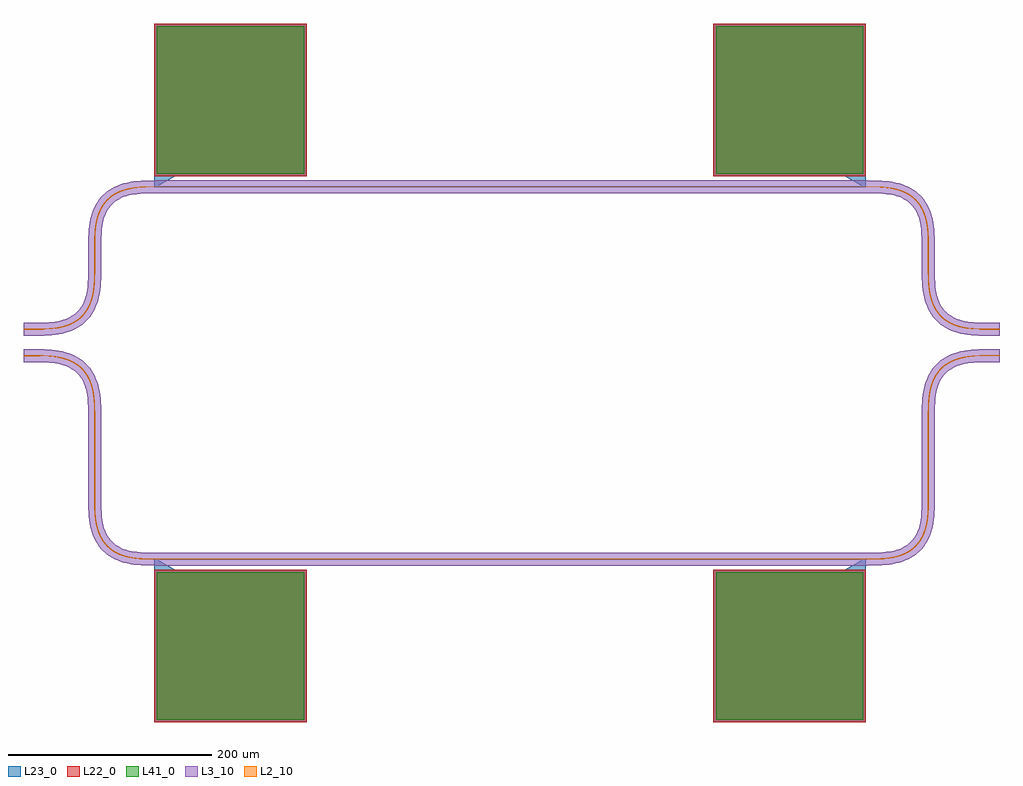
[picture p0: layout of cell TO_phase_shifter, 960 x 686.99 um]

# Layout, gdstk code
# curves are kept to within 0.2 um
import gdstk
lib = gdstk.Library(unit=1e-6, precision=1e-09)
def R(c, l, rs):  # rectangles x0, y0, x1, y1
    for r in rs: c.add(gdstk.rectangle(r[:2], r[2:], *l))
def P(c, l, *ps):  # polygons
    for p in ps: c.add(gdstk.Polygon(p, *l))
L2_10 = (2, 10)
L3_10 = (3, 10)
L22_0 = (22, 0)
L23_0 = (23, 0)
L41_0 = (41, 0)

to_phase_shifter = lib.new_cell('TO_phase_shifter')
P(to_phase_shifter, L2_10, [(128.309,-213.394),(121.537,-213.332),(116.116,-213.119),(111.381,-212.729),(107.004,-212.138),(103.001,-211.35),(99.057,-210.292),(95.521,-209.055),(92.093,-207.537),(88.81,-205.72),(85.99,-203.798),(83.363,-201.614),(80.972,-199.173),(78.841,-196.505),(76.798,-193.355),(75.064,-190.029),(73.625,-186.568),(72.752,-183.987),(72.014,-181.366),(70.906,-176.04),(70.18,-170.312),(69.769,-163.54),(69.65,-154.735),(69.645,-69.325),(69.553,-63.246),(69.263,-57.52),(68.875,-53.496),(68.403,-50.162),(67.699,-46.53),(66.868,-43.273),(65.834,-40.078),(64.716,-37.272),(63.251,-34.255),(61.723,-31.655),(59.787,-28.923),(57.827,-26.636),(55.666,-24.541),(53.051,-22.452),(50.249,-20.617),(47.295,-19.031),(44.223,-17.684),(40.737,-16.464),(37.496,-15.574),(34.538,-14.935),(31.218,-14.386),(27.203,-13.921),(22.832,-13.612),(17.773,-13.442),(0,-13.394),(0,-12.694),(16.431,-12.721),(25.238,-13.058),(29.632,-13.474),(33.666,-14.064),(37.33,-14.815),(40.618,-15.696),(44.162,-16.909),(47.294,-18.253),(50.606,-20.015),(53.461,-21.885),(56.129,-24.016),(58.337,-26.157),(60.338,-28.492),(62.312,-31.276),(63.868,-33.924),(65.219,-36.679),(66.375,-39.52),(67.445,-42.753),(68.306,-46.045),(68.98,-49.378),(69.57,-53.412),(69.961,-57.468),(70.253,-63.226),(70.345,-69.322),(70.35,-154.735),(70.48,-163.853),(70.877,-170.247),(71.597,-175.926),(72.693,-181.193),(74.166,-186.01),(75.558,-189.429),(77.236,-192.713),(79.213,-195.822),(81.277,-198.458),(83.592,-200.871),(86.144,-203.036),(89.178,-205.124),(92.403,-206.91),(95.777,-208.404),(99.263,-209.624),(103.158,-210.668),(107.451,-211.501),(111.456,-212.033),(116.158,-212.42),(121.552,-212.632),(128.309,-212.694),(833.719,-212.689),(841.484,-212.538),(847.203,-212.167),(852.549,-211.501),(857.496,-210.514),(860.415,-209.722),(863.282,-208.763),(866.079,-207.624),(868.789,-206.295),(871.107,-204.947),(873.321,-203.438),(875.414,-201.767),(877.364,-199.935),(879.156,-197.947),(880.787,-195.822),(882.255,-193.58),(883.716,-190.941),(884.98,-188.199),(886.058,-185.377),(886.959,-182.492),(887.772,-179.23),(888.509,-175.261),(889.058,-170.918),(889.414,-166.213),(889.602,-160.817),(889.655,-69.322),(889.738,-63.564),(889.925,-59.16),(890.212,-55.438),(890.649,-51.728),(891.204,-48.375),(891.85,-45.383),(892.652,-42.426),(893.625,-39.52),(894.781,-36.679),(895.972,-34.225),(897.873,-30.99),(899.874,-28.223),(902.136,-25.663),(904.65,-23.349),(907.378,-21.296),(910.58,-19.339),(913.947,-17.687),(917.761,-16.215),(921.349,-15.143),(924.997,-14.312),(929.357,-13.601),(933.409,-13.164),(937.81,-12.88),(942.892,-12.731),(960,-12.694),(960,-13.394),(941.552,-13.456),(936.831,-13.63),(932.126,-13.986),(928.449,-14.434),(924.472,-15.132),(920.876,-15.995),(917.667,-16.986),(913.921,-18.464),(910.623,-20.115),(907.496,-22.065),(904.841,-24.103),(902.403,-26.394),(900.213,-28.923),(898.097,-31.937),(896.437,-34.849),(895.284,-37.272),(894.166,-40.078),(893.226,-42.951),(892.452,-45.875),(891.829,-48.837),(891.251,-52.493),(890.877,-55.841),(890.586,-59.875),(890.412,-64.596),(890.351,-70.677),(890.295,-161.168),(890.075,-166.928),(889.721,-171.325),(889.148,-175.704),(888.382,-179.711),(887.54,-183.008),(886.607,-185.927),(885.626,-188.47),(884.34,-191.256),(882.854,-193.942),(881.358,-196.227),(879.695,-198.394),(877.864,-200.425),(875.872,-202.297),(873.736,-204.002),(871.479,-205.54),(869.12,-206.912),(866.675,-208.123),(863.843,-209.3),(860.618,-210.392),(857.661,-211.194),(852.66,-212.192),(847.268,-212.864),(841.512,-213.237),(833.722,-213.389)],
  [(0,12.694),(0,13.394),(17.435,13.436),(25.524,13.781),(31.551,14.434),(34.538,14.935),(37.496,15.574),(40.737,16.464),(43.596,17.443),(46.385,18.602),(49.084,19.953),(51.671,21.503),(53.856,23.052),(56.163,24.989),(58.055,26.881),(59.787,28.923),(61.541,31.373),(63.091,33.96),(64.442,36.659),(65.719,39.762),(66.678,42.629),(67.548,45.875),(68.29,49.499),(69.123,55.841),(69.553,63.246),(69.645,69.325),(69.677,99.475),(69.852,105.573),(70.245,110.988),(71.141,117.379),(72.46,123.008),(73.281,125.606),(74.244,128.155),(75.209,130.338),(76.46,132.762),(78.061,135.383),(79.874,137.865),(81.898,140.179),(84.128,142.297),(86.539,144.203),(89.394,146.073),(92.093,147.537),(95.204,148.929),(98.407,150.087),(102.008,151.113),(105.665,151.903),(109.357,152.487),(113.409,152.924),(117.471,153.192),(128.309,153.394),(832.368,153.393),(838.802,153.324),(843.884,153.119),(848.619,152.729),(852.996,152.138),(856.003,151.571),(858.98,150.858),(861.593,150.087),(864.479,149.055),(866.985,147.98),(869.42,146.749),(871.768,145.356),(874.01,143.798),(875.872,142.297),(877.864,140.425),(879.475,138.656),(881.159,136.505),(882.496,134.523),(883.868,132.164),(885.079,129.719),(886.135,127.206),(887.54,123.008),(888.665,118.381),(889.487,113.35),(890.01,107.943),(890.231,103.54),(890.334,98.459),(890.428,63.921),(890.737,57.52),(891.342,51.826),(891.891,48.506),(892.611,45.221),(893.42,42.307),(894.518,39.134),(895.558,36.659),(896.909,33.96),(898.459,31.373),(900.008,29.188),(901.945,26.881),(904.085,24.764),(906.41,22.85),(908.893,21.141),(911.805,19.481),(914.845,18.064),(918.303,16.771),(921.526,15.821),(924.802,15.065),(928.116,14.484),(931.456,14.055),(935.485,13.71),(943.578,13.421),(960,13.394),(960,12.694),(944.924,12.707),(938.149,12.865),(933.409,13.164),(929.357,13.601),(925.665,14.185),(922.008,14.975),(918.407,16.001),(915.204,17.159),(912.093,18.551),(909.102,20.19),(906.264,22.086),(903.871,24.016),(901.663,26.157),(899.662,28.492),(898.061,30.705),(896.46,33.326),(895.064,36.059),(893.865,38.882),(892.853,41.776),(891.931,45.052),(891.268,48.041),(890.649,51.728),(890.039,57.468),(889.72,64.242),(889.634,98.453),(889.52,103.853),(889.288,108.232),(888.749,113.595),(887.912,118.572),(886.868,122.815),(885.482,126.954),(884.442,129.429),(883.251,131.833),(881.903,134.151),(880.592,136.095),(878.941,138.203),(877.364,139.935),(875.666,141.547),(873.59,143.238),(871.389,144.767),(869.084,146.135),(866.689,147.345),(864.223,148.404),(861.697,149.317),(858.799,150.181),(856.186,150.816),(852.882,151.447),(848.544,152.033),(843.842,152.42),(839.123,152.616),(832.367,152.693),(128.309,152.694),(122.227,152.646),(117.168,152.476),(113.132,152.197),(109.449,151.793),(105.793,151.215),(102.177,150.433),(98.943,149.523),(95.777,148.404),(92.705,147.057),(89.751,145.471),(86.949,143.636),(84.586,141.767),(82.403,139.694),(80.421,137.428),(78.459,134.715),(76.909,132.128),(75.699,129.733),(74.64,127.267),(73.041,122.492),(71.769,116.92),(70.909,110.583),(70.568,105.876),(70.377,99.466),(70.345,69.322),(70.253,63.226),(69.82,55.776),(68.98,49.378),(68.229,45.714),(67.348,42.426),(66.256,39.201),(65.079,36.369),(63.705,33.624),(62.127,30.99),(60.338,28.492),(58.57,26.407),(56.637,24.474),(54.282,22.497),(52.054,20.917),(49.42,19.339),(46.675,17.965),(43.843,16.788),(40.618,15.696),(37.33,14.815),(34.335,14.185),(31.316,13.693),(27.606,13.256),(23.884,12.969),(16.092,12.717)])
P(to_phase_shifter, L3_10, [(130,-219.394),(119.652,-219.283),(108.57,-218.435),(102.019,-217.28),(95.478,-215.434),(87.355,-211.822),(82.384,-208.593),(78.134,-204.91),(72.853,-198.384),(69.959,-193.264),(67.61,-187.566),(65.764,-181.025),(64.206,-170.863),(63.761,-163.392),(63.65,-153.044),(63.574,-64.076),(62.58,-51.748),(61.567,-46.669),(60.09,-41.841),(56.974,-35.372),(52.886,-30.158),(47.672,-26.07),(41.203,-22.954),(34.012,-20.947),(25.392,-19.789),(18.968,-19.47),(0,-19.394),(0,-6.694),(20.348,-6.805),(27.819,-7.25),(37.981,-8.808),(44.522,-10.654),(52.645,-14.266),(57.616,-17.495),(61.866,-21.178),(67.147,-27.704),(70.041,-32.824),(72.39,-38.522),(74.236,-45.063),(75.794,-55.225),(76.239,-62.696),(76.35,-73.044),(76.426,-162.012),(77.42,-174.34),(78.433,-179.419),(79.91,-184.247),(81.902,-188.743),(85.635,-194.323),(90.464,-198.773),(96.369,-202.146),(101.033,-203.891),(108.704,-205.624),(114.608,-206.299),(130,-206.694),(830,-206.694),(845.392,-206.299),(851.296,-205.624),(856.375,-204.611),(861.203,-203.134),(865.699,-201.142),(869.536,-198.773),(872.886,-195.93),(875.729,-192.58),(878.098,-188.743),(880.09,-184.247),(882.097,-177.056),(882.954,-171.57),(883.574,-162.012),(883.65,-73.044),(883.936,-58.804),(885.11,-48.343),(886.59,-41.784),(888.694,-35.651),(891.222,-30.399),(894.451,-25.428),(898.134,-21.178),(900.202,-19.254),(904.66,-15.897),(907.355,-14.266),(915.478,-10.654),(922.019,-8.808),(932.181,-7.25),(939.652,-6.805),(960,-6.694),(960,-19.394),(941.032,-19.47),(934.608,-19.789),(925.988,-20.947),(918.797,-22.954),(914.301,-24.946),(908.721,-28.679),(904.271,-33.508),(900.898,-39.413),(899.153,-44.077),(897.903,-49.032),(897.046,-54.518),(896.426,-64.076),(896.239,-163.392),(895.391,-174.474),(894.236,-181.025),(892.39,-187.566),(890.041,-193.264),(887.147,-198.384),(881.866,-204.91),(877.616,-208.593),(872.645,-211.822),(867.393,-214.35),(861.26,-216.454),(854.701,-217.934),(847.819,-218.838),(840.348,-219.283),(830,-219.394)],
  [(0,6.694),(0,19.394),(18.968,19.47),(25.392,19.789),(31.296,20.464),(36.375,21.477),(41.203,22.954),(47.672,26.07),(51.279,28.679),(54.365,31.765),(56.974,35.372),(59.102,39.413),(60.847,44.077),(62.58,51.748),(63.574,64.076),(63.761,103.392),(64.206,110.863),(65.11,117.745),(66.59,124.304),(69.959,133.264),(72.853,138.384),(78.134,144.91),(82.384,148.593),(87.355,151.822),(95.478,155.434),(102.019,157.28),(108.57,158.435),(119.652,159.283),(830,159.394),(844.24,159.108),(854.701,157.934),(861.26,156.454),(867.393,154.35),(872.645,151.822),(877.616,148.593),(881.866,144.91),(885.549,140.66),(888.778,135.689),(891.306,130.437),(894.236,121.025),(895.794,110.863),(896.239,103.392),(896.426,64.076),(897.046,54.518),(898.433,46.669),(899.91,41.841),(901.902,37.345),(904.271,33.508),(907.114,30.158),(912.328,26.07),(918.797,22.954),(923.625,21.477),(928.704,20.464),(934.608,19.789),(941.032,19.47),(960,19.394),(960,6.694),(935.76,6.98),(928.57,7.653),(922.019,8.808),(912.607,11.738),(904.66,15.897),(900.202,19.254),(896.21,23.246),(892.853,27.704),(888.694,35.651),(886.59,41.784),(885.11,48.343),(884.206,55.225),(883.761,62.696),(883.574,102.012),(883.255,108.436),(882.097,117.056),(880.09,124.247),(878.098,128.743),(875.729,132.58),(872.886,135.93),(869.536,138.773),(865.699,141.142),(861.203,143.134),(856.375,144.611),(851.296,145.624),(845.392,146.299),(830,146.694),(121.032,146.618),(111.474,145.998),(105.988,145.141),(98.797,143.134),(94.301,141.142),(90.464,138.773),(87.114,135.93),(84.271,132.58),(80.898,126.675),(78.433,119.419),(77.42,114.34),(76.745,108.436),(76.426,102.012),(76.239,62.696),(75.794,55.225),(74.89,48.343),(73.41,41.784),(71.306,35.651),(67.147,27.704),(63.79,23.246),(61.866,21.178),(57.616,17.495),(52.645,14.266),(47.393,11.738),(41.26,9.634),(34.701,8.154),(24.24,6.98)])
R(to_phase_shifter, L22_0, [(128.65,-373.494,278.65,-223.494), (678.65,-373.494,828.65,-223.494), (128.65,163.494,278.65,313.494), (678.65,163.494,828.65,313.494)])
P(to_phase_shifter, L23_0, [(128.65,-373.494),(128.65,-212.594),(828.65,-212.594),(828.65,-373.494),(678.65,-373.494),(678.65,-223.494),(807.936,-223.494),(825.174,-213.494),(132.126,-213.494),(149.364,-223.494),(278.65,-223.494),(278.65,-373.494)],
  [(128.65,152.594),(128.65,313.494),(278.65,313.494),(278.65,163.494),(149.364,163.494),(132.126,153.494),(825.174,153.494),(807.936,163.494),(678.65,163.494),(678.65,313.494),(828.65,313.494),(828.65,152.594)])
R(to_phase_shifter, L41_0, [(131.15,-370.994,276.15,-225.994), (681.15,-370.994,826.15,-225.994), (131.15,165.994,276.15,310.994), (681.15,165.994,826.15,310.994)])

lib.write_gds('TO_phase_shifter.gds')
